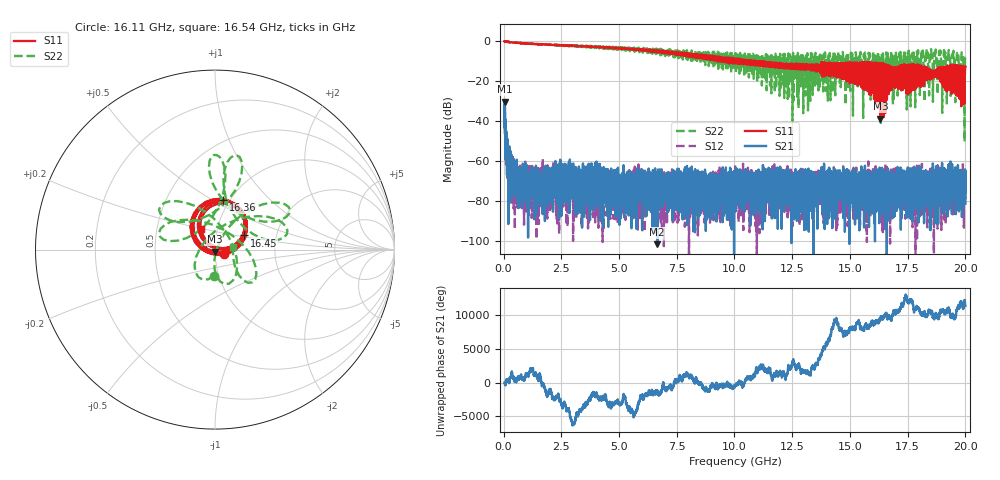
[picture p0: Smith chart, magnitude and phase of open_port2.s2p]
!Agilent Technologies,E8364A,US41440322,A.04.87.01
!Agilent E8364A: A.04.87.01
!Date: Tuesday, July 16, 2024 13:03:29
!Correction: S11(Full 2 Port SOLT,1,2) S21(Full 2 Port SOLT,1,2) S12(Full 2 Port SOLT,1,2) S22(Full 2 Port SOLT,1,2)
!S2P File: Measurements: S11, S21, S12, S22:
# Hz S  dB  R 50
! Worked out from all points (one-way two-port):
!   6401 points, 45 MHz to 20 GHz, reference 50 ohm
!   highest |S21| = -30.30 dB at 48.12 MHz (marker M1); lowest = -101.6 dB at 6.655 GHz (marker M2)
!   lowest |S11| = -38.9 dB at 16.32 GHz (marker M3), VSWR 1.02, Z = 49.8 - j1.12 ohm
!   |S11| at or under -10 dB: 10.79 GHz to 10.85 GHz (58.86 MHz wide, 0.544 % of centre); 10.85 GHz to 10.92 GHz (61.49 MHz wide, 0.565 % of centre); 10.93 GHz to end of sweep (the widest 3 of 25)
!   |S22| runs from -50.3 to 0.2 dB; largest |S21 - S12| = 0.038
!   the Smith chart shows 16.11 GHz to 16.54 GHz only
!   S11 on the Smith chart (normalised r, x): 16.11 GHz: 1.11, -0.05; 16.36 GHz: 0.93, +0.56; 16.45 GHz: 1.37, +0.22; 16.54 GHz: 0.84, +0.19
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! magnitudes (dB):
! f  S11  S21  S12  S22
! 45 MHz  -0.3  -40.2  -35.6  0.2
! 48.12 MHz  -0.4  -30.3  -35.2  0.0
! 163.5 MHz  -0.5  -66.8  -51.1  -0.5
! 282 MHz  -0.7  -56.8  -59.2  -0.6
! 643.6 MHz  -1.0  -73.2  -69.3  -1.0
! 1.632 GHz  -1.8  -76.0  -64.6  -1.8
! 2.811 GHz  -2.4  -81.6  -67.8  -2.7
! 3.372 GHz  -2.8  -80.1  -84.5  -3.1
! 6.655 GHz  -4.8  -101.6  -80.3  -5.4
! 6.699 GHz  -5.5  -64.2  -73.0  -5.9
! 9.464 GHz  -8.6  -83.4  -77.9  -6.8
! 10.02 GHz  -9.1  -76.8  -69.6  -8.4
! 11.08 GHz  -11.2  -67.4  -79.0  -11.2
! 13.35 GHz  -11.9  -65.4  -71.9  -7.7
! 16.11 GHz  -24.9  -70.6  -69.5  -16.6
! 16.32 GHz  -38.9  -70.9  -83.2  -14.0
! 16.36 GHz  -11.1  -74.6  -71.8  -8.6
! 16.45 GHz  -14.8  -67.6  -71.6  -12.2
! 16.54 GHz  -17.3  -71.4  -80.3  -19.9
! 16.68 GHz  -21.0  -72.5  -77.7  -11.8
! 19.68 GHz  -27.6  -64.0  -73.3  -6.3
! 20 GHz  -12.9  -81.3  -79.3  -8.8
